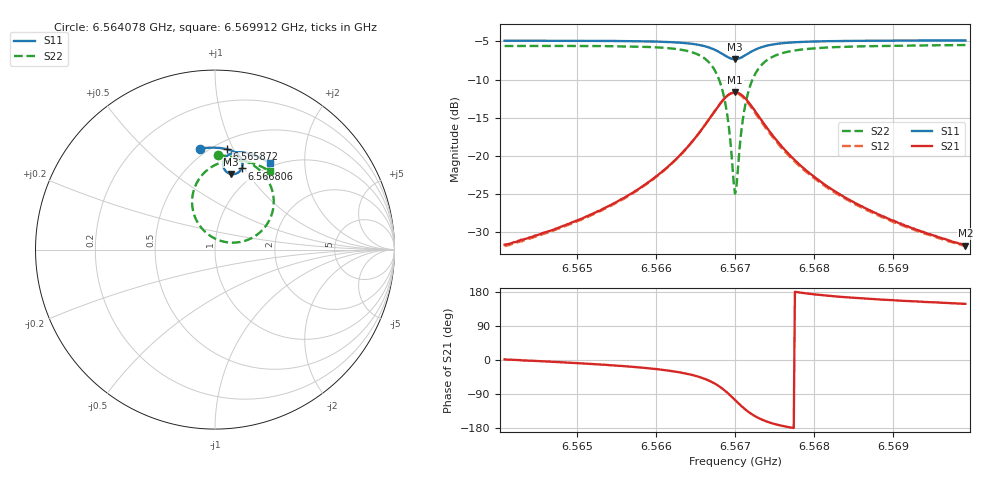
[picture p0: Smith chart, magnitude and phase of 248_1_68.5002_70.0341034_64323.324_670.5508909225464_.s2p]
#  HZ  S  RI  R  50.00
! Rohde & Schwarz Vector Network Analyzer
! Rohde-Schwarz,ZNB20-2Port,1311601062101988,3.16
! Created: UTC 3/20/2024, 4:59:43 PM
! freq[Hz]  re:S11  im:S11  re:S21  im:S21  re:S12  im:S12  re:S22  im:S22
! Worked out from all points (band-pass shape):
!   401 points, 6.564078 GHz to 6.569912 GHz, reference 50 ohm
!   highest |S21| = -11.66 dB at 6.566995 GHz (marker M1); lowest = -31.7 dB at 6.569912 GHz (marker M2)
!   |S21| within 3 dB of the highest: 6.566703 GHz to 6.567286 GHz (583.1 kHz wide, 0.00888 % of centre)
!   lowest |S11| = -7.3 dB at 6.566995 GHz (marker M3), VSWR 2.51, Z = 40.3 + j41.7 ohm
!   |S11| at or under -10 dB: nowhere
!   |S22| runs from -24.9 to -5.5 dB; largest |S21 - S12| = 0.012
!   S11 on the Smith chart (normalised r, x): 6.564078 GHz: 0.45, +0.75; 6.565872 GHz: 0.58, +0.95; 6.566806 GHz: 0.83, +0.97; 6.569912 GHz: 0.94, +1.35
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6.564078e9  -0.0841 0.5629  0.0262 0.000839  0.0257 0.000129  0.0145 0.525
6.5650552e9  -0.00522 0.568  0.0385 -0.00604  0.0378 -0.00666  0.1039 0.5148
6.5658721e9  0.0684 0.5591  0.0615 -0.0238  0.0604 -0.0246  0.2017 0.4774
6.5660325e9  0.0846 0.5541  0.0689 -0.032  0.0678 -0.0327  0.2264 0.4611
6.5663534e9  0.12 0.5362  0.0889 -0.0619  0.0875 -0.0633  0.2848 0.4015
6.5665722e9  0.1445 0.5096  0.102 -0.1084  0.0997 -0.1104  0.323 0.3122
6.5667035e9  0.1534 0.4814  0.0976 -0.1573  0.0938 -0.1602  0.3222 0.2185
6.5668056e9  0.1482 0.4523  0.0714 -0.2075  0.065 -0.2102  0.2774 0.1241
6.5668931e9  0.1281 0.4287  0.0199 -0.246  0.0104 -0.2466  0.1836 0.0546
6.5669223e9  0.1176 0.4234  -0.0039 -0.2536  -0.0141 -0.2527  0.141 0.0423
6.566966e9  0.0998 0.42  -0.043 -0.2564  -0.0537 -0.2529  0.0713 0.0403
6.5669952e9  0.0873 0.4213  -0.0695 -0.2519  -0.0799 -0.2464  0.025 0.0509
6.5670244e9  0.0756 0.4254  -0.0946 -0.2421  -0.1042 -0.235  -0.0178 0.0709
6.5670827e9  0.057 0.4402  -0.1352 -0.2104  -0.1419 -0.2008  -0.0839 0.1316
6.5671265e9  0.0486 0.4549  -0.1549 -0.1807  -0.1591 -0.1706  -0.1132 0.1856
6.5671848e9  0.045 0.4749  -0.1673 -0.1412  -0.1685 -0.1316  -0.1276 0.2559
6.5672578e9  0.049 0.4964  -0.1669 -0.0991  -0.1658 -0.091  -0.1188 0.3289
6.5675203e9  0.0881 0.5348  -0.1252 -0.0214  -0.1224 -0.018  -0.0234 0.4577
6.5679725e9  0.1467 0.5423  -0.0745 0.00799  -0.0725 0.00907  0.0962 0.4968
6.5683955e9  0.1883 0.5347  -0.0517 0.0132  -0.0505 0.0136  0.1633 0.4928
6.5689498e9  0.2343 0.5191  -0.0359 0.0143  -0.0351 0.0145  0.2254 0.4761
6.5699125e9  0.3038 0.4835  -0.0221 0.0136  -0.0216 0.0139  0.3054 0.4367
